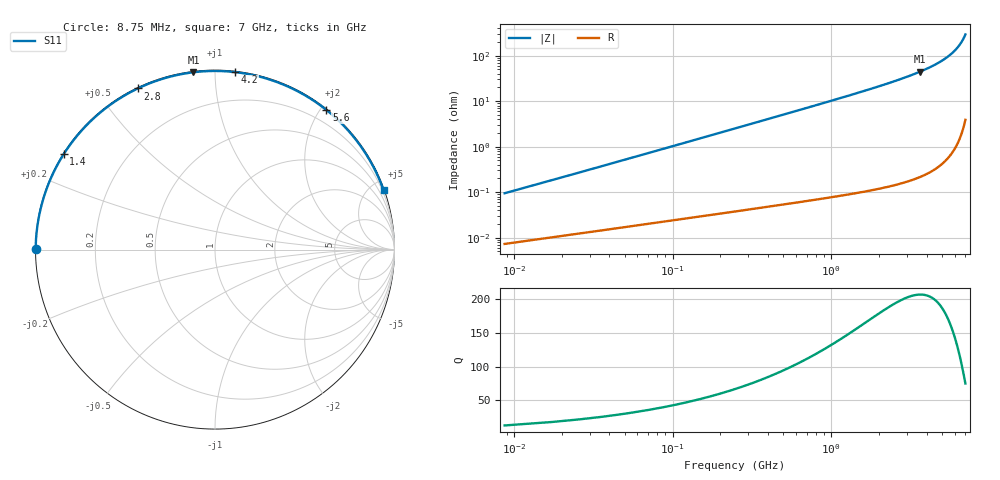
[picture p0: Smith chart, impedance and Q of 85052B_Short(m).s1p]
# Hz S RI R 50.000000
! Metas.Vna.Tools, 2.8.8664.20301
! Metas.Vna.Data, 2.8.8664.20285
! Created: UTC 2024.02.11 13:54:47
! FREQ  re:S1,1  im:S1,1
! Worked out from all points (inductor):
!   800 points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, 8.75 MHz to 7 GHz, reference 50 ohm
!   read as one part to ground: L = 1.64 nH near 43.75 MHz
!   highest Q = 207 at 3.614 GHz (marker M1), where L = 1.95 nH
!   S11 on the Smith chart (normalised r, x): 8.75 MHz: 0.00, +0.00; 1.4 GHz: 0.00, +0.29; 2.8 GHz: 0.00, +0.63; 4.2 GHz: 0.01, +1.12; 5.6 GHz: 0.01, +2.08; 7 GHz: 0.08, +5.85
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8750000  -0.9997 0.00378
2.275e8  -0.9943 0.0922
4.4625e8  -0.9818 0.1791
6.65e8  -0.9618 0.2645
8.8375e8  -0.9346 0.3478
1.1375e9  -0.8941 0.4408
1.4e9  -0.8426 0.5322
1.75875e9  -0.7573 0.6472
2.205e9  -0.6299 0.7713
2.63375e9  -0.4888 0.8673
2.8e9  -0.43 0.8978
3.15875e9  -0.297 0.95
3.50875e9  -0.1615 0.982
3.61375e9  -0.1201 0.9879
3.9025e9  -0.00551 0.9951
4.2e9  0.1126 0.9887
4.38375e9  0.1849 0.9778
4.59375e9  0.2662 0.9588
4.8125e9  0.3489 0.9319
5.03125e9  0.429 0.8979
5.25875e9  0.5087 0.8553
5.6e9  0.6203 0.7783
5.8625e9  0.6984 0.7091
6.13375e9  0.771 0.6295
6.36125e9  0.825 0.5569
6.58875e9  0.8722 0.4798
6.81625e9  0.9122 0.3987
7e9  0.939 0.3308
